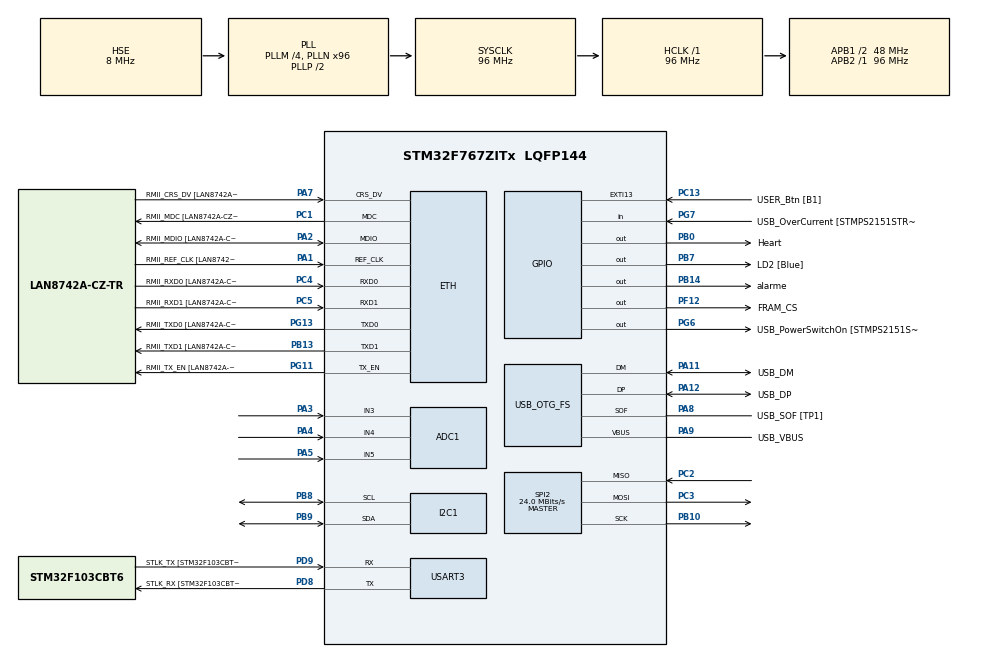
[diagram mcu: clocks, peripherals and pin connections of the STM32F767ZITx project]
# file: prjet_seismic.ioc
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ADC1.Channel-0\#ChannelRegularConversion=ADC_CHANNEL_5
ADC1.Channel-1\#ChannelRegularConversion=ADC_CHANNEL_3
ADC1.Channel-2\#ChannelRegularConversion=ADC_CHANNEL_3
ADC1.ContinuousConvMode=DISABLE
ADC1.DMAContinuousRequests=ENABLE
ADC1.ExternalTrigConv=ADC_EXTERNALTRIGCONV_T2_TRGO
ADC1.NbrOfConversion=3
ADC1.NbrOfConversionFlag=1
ADC1.Rank-0\#ChannelRegularConversion=1
ADC1.Rank-1\#ChannelRegularConversion=2
ADC1.Rank-2\#ChannelRegularConversion=3
ADC1.SamplingTime-0\#ChannelRegularConversion=ADC_SAMPLETIME_3CYCLES
ADC1.SamplingTime-1\#ChannelRegularConversion=ADC_SAMPLETIME_3CYCLES
ADC1.SamplingTime-2\#ChannelRegularConversion=ADC_SAMPLETIME_3CYCLES
ADC1.master=1
Dma.ADC1.0.Direction=DMA_PERIPH_TO_MEMORY
Dma.ADC1.0.FIFOMode=DMA_FIFOMODE_DISABLE
Dma.ADC1.0.Instance=DMA2_Stream0
Dma.ADC1.0.MemDataAlignment=DMA_MDATAALIGN_HALFWORD
Dma.ADC1.0.MemInc=DMA_MINC_ENABLE
Dma.ADC1.0.Mode=DMA_CIRCULAR
Dma.ADC1.0.PeriphDataAlignment=DMA_PDATAALIGN_HALFWORD
Dma.ADC1.0.PeriphInc=DMA_PINC_DISABLE
Dma.ADC1.0.Priority=DMA_PRIORITY_LOW
Dma.Request0=ADC1
ETH.MACAddr=00\:80\:E1\:00\:00\:07
ETH.MediaInterface=HAL_ETH_RMII_MODE
ETH.RxMode=ETH_RXINTERRUPT_MODE
FREERTOS.INCLUDE_uxTaskGetStackHighWaterMark=1
FREERTOS.Tasks01=defaultTask,0,256,StartDefaultTask,Default,NULL,Dynamic,NULL,NULL
FREERTOS.configTOTAL_HEAP_SIZE=384000
FREERTOS.configUSE_NEWLIB_REENTRANT=1
FREERTOS.configUSE_TRACE_FACILITY=1
I2C1.Timing=0x20303E5D
LWIP.BSP.number=1
LWIP.GATEWAY_ADDRESS=192.168.001.001
LWIP.IP_ADDRESS=192.168.001.177
LWIP.IP_FORWARD_ALLOW_TX_ON_RX_NETIF=1
LWIP.IP_SOF_BROADCAST=1
LWIP.IP_SOF_BROADCAST_RECV=1
LWIP.LWIP_DHCP=0
LWIP.LWIP_DNS=1
LWIP.LWIP_SNTP=1
LWIP.LWIP_SO_RCVTIMEO=1
LWIP.MEMP_NUM_TCP_PCB_LISTEN=20
LWIP.MEM_SIZE=32768
LWIP.NETMASK_ADDRESS=255.255.255.000
LWIP.Version=v2.1.2_Cube
LWIP0.BSP.STBoard=false
LWIP0.BSP.api=BSP_COMPONENT_DRIVER
LWIP0.BSP.component=LAN8742
LWIP0.BSP.instance=LAN8742
LWIP0.BSP.name=Driver_PHY
LWIP0.BSP.semaphore=S_LAN8742
LWIP0.BSP.solution=LAN8742
Mcu.Family=STM32F7
Mcu.Name=STM32F767ZITx
Mcu.Package=LQFP144
NVIC.DMA2_Stream0_IRQn=true\:5\:0\:false\:false\:true\:true\:false\:true\:true
NVIC.ETH_IRQn=true\:5\:0\:false\:false\:true\:true\:false\:true\:true
NVIC.EXTI15_10_IRQn=true\:5\:0\:false\:false\:true\:true\:true\:true\:true
NVIC.PriorityGroup=NVIC_PRIORITYGROUP_4
NVIC.TIM1_UP_TIM10_IRQn=true\:15\:0\:false\:false\:true\:false\:false\:true\:true
NVIC.TIM2_IRQn=true\:5\:0\:false\:false\:true\:true\:true\:true\:true
NVIC.TimeBase=TIM1_UP_TIM10_IRQn
NVIC.TimeBaseIP=TIM1
PA1.GPIO_Label=RMII_REF_CLK [LAN8742A-CZ-TR_REFCLK0]
PA1.Mode=RMII
PA1.Signal=ETH_REF_CLK
PA10.GPIO_Label=USB_ID
PA10.Signal=USB_OTG_FS_ID
PA11.GPIO_Label=USB_DM
PA11.Mode=Device_Only
PA11.Signal=USB_OTG_FS_DM
PA12.GPIO_Label=USB_DP
PA12.Mode=Device_Only
PA12.Signal=USB_OTG_FS_DP
PA13.GPIO_Label=TMS
PA13.Signal=SYS_JTMS-SWDIO
PA14.GPIO_Label=TCK
PA14.Signal=SYS_JTCK-SWCLK
PA2.GPIO_Label=RMII_MDIO [LAN8742A-CZ-TR_MDIO]
PA2.Mode=RMII
PA2.Signal=ETH_MDIO
PA3.Signal=ADCx_IN3
PA4.Signal=ADCx_IN4
PA5.Signal=ADCx_IN5
PA7.GPIO_Label=RMII_CRS_DV [LAN8742A-CZ-TR_CRS_DV]
PA7.Mode=RMII
PA7.Signal=ETH_CRS_DV
PA8.GPIO_Label=USB_SOF [TP1]
PA8.Mode=Activate_SOF_FS
PA8.Signal=USB_OTG_FS_SOF
PA9.GPIO_Label=USB_VBUS
PA9.Mode=Activate_VBUS
PA9.Signal=USB_OTG_FS_VBUS
PB0.GPIO_Label=Heart
PB0.Signal=GPIO_Output
PB10.Mode=Full_Duplex_Master
PB10.Signal=SPI2_SCK
PB13.GPIO_Label=RMII_TXD1 [LAN8742A-CZ-TR_TXD1]
PB13.Mode=RMII
PB13.Signal=ETH_TXD1
PB14.GPIO_Label=alarme
PB14.Signal=GPIO_Output
PB3.GPIO_Label=SW0
PB3.Signal=SYS_JTDO-SWO
PB7.GPIO_Label=LD2 [Blue]
PB7.Signal=GPIO_Output
PB8.Mode=I2C
PB8.Signal=I2C1_SCL
PB9.Mode=I2C
PB9.Signal=I2C1_SDA
PC1.GPIO_Label=RMII_MDC [LAN8742A-CZ-TR_MDC]
PC1.Mode=RMII
PC1.Signal=ETH_MDC
PC13.GPIO_Label=USER_Btn [B1]
PC13.Signal=GPXTI13
PC14/OSC32_IN.Mode=LSE-External-Oscillator
PC14/OSC32_IN.Signal=RCC_OSC32_IN
PC15/OSC32_OUT.Mode=LSE-External-Oscillator
PC15/OSC32_OUT.Signal=RCC_OSC32_OUT
PC2.Mode=Full_Duplex_Master
PC2.Signal=SPI2_MISO
PC3.Mode=Full_Duplex_Master
PC3.Signal=SPI2_MOSI
PC4.GPIO_Label=RMII_RXD0 [LAN8742A-CZ-TR_RXD0]
PC4.Mode=RMII
PC4.Signal=ETH_RXD0
PC5.GPIO_Label=RMII_RXD1 [LAN8742A-CZ-TR_RXD1]
PC5.Mode=RMII
PC5.Signal=ETH_RXD1
PD8.GPIO_Label=STLK_RX [STM32F103CBT6_PA3]
PD8.Mode=Asynchronous
PD8.Signal=USART3_TX
PD9.GPIO_Label=STLK_TX [STM32F103CBT6_PA2]
PD9.Mode=Asynchronous
PD9.Signal=USART3_RX
PF12.GPIO_Label=FRAM_CS
PF12.PinState=GPIO_PIN_SET
PF12.Signal=GPIO_Output
PG11.GPIO_Label=RMII_TX_EN [LAN8742A-CZ-TR_TXEN]
PG11.Mode=RMII
PG11.Signal=ETH_TX_EN
PG13.GPIO_Label=RMII_TXD0 [LAN8742A-CZ-TR_TXD0]
PG13.Mode=RMII
PG13.Signal=ETH_TXD0
PG6.GPIO_Label=USB_PowerSwitchOn [STMPS2151STR_EN]
PG6.Signal=GPIO_Output
PG7.GPIO_Label=USB_OverCurrent [STMPS2151STR_FAULT]
PG7.Signal=GPIO_Input
PH0/OSC_IN.GPIO_Label=MCO [STM32F103CBT6_PA8]
PH0/OSC_IN.Mode=HSE-External-Oscillator
PH0/OSC_IN.Signal=RCC_OSC_IN
PH1/OSC_OUT.Mode=HSE-External-Oscillator
PH1/OSC_OUT.Signal=RCC_OSC_OUT
ProjectManager.HeapSize=0x200
ProjectManager.StackSize=0x400
ProjectManager.TargetToolchain=STM32CubeIDE
RCC.48MHZClocksFreq_Value=24000000
RCC.AHBFreq_Value=96000000
RCC.APB1CLKDivider=RCC_HCLK_DIV2
RCC.APB1Freq_Value=48000000
RCC.APB1TimFreq_Value=96000000
RCC.APB2Freq_Value=96000000
RCC.APB2TimFreq_Value=96000000
RCC.CortexFreq_Value=96000000
RCC.HCLKFreq_Value=96000000
RCC.HSE_VALUE=8000000
RCC.HSI_VALUE=16000000
RCC.PLLM=4
RCC.PLLMUL=RCC_PLL_MUL9
RCC.PLLN=96
RCC.PLLQ=4
RCC.PRESCALERUSB=RCC_USBCLKSOURCE_PLL_DIV1_5
RCC.SYSCLKFreq_VALUE=96000000
RCC.SYSCLKSource=RCC_SYSCLKSOURCE_PLLCLK
RCC.SYSCLKSourceVirtual=RCC_SYSCLKSOURCE_PLLCLK
RCC.USBFreq_Value=48000000
RCC.VCOOutputFreq_Value=192000000
SH.ADCx_IN3.0=ADC1_IN3,IN3
SH.ADCx_IN4.0=ADC1_IN4,IN4
SH.ADCx_IN5.0=ADC1_IN5,IN5
SPI2.BaudRatePrescaler=SPI_BAUDRATEPRESCALER_2
SPI2.CalculateBaudRate=24.0 MBits/s
SPI2.DataSize=SPI_DATASIZE_8BIT
SPI2.Direction=SPI_DIRECTION_2LINES
SPI2.Mode=SPI_MODE_MASTER
SPI2.VirtualType=VM_MASTER
TIM2.Period=9999
TIM2.Prescaler=95
TIM2.TIM_MasterOutputTrigger=TIM_TRGO_UPDATE
TIM2.TIM_MasterSlaveMode=TIM_MASTERSLAVEMODE_ENABLE
USART3.VirtualMode-Asynchronous=VM_ASYNC
USB_OTG_FS.VirtualMode=Device_Only
VP_FREERTOS_VS_CMSIS_V1.Mode=CMSIS_V1
VP_LWIP_VS_Enabled.Mode=Enabled
VP_SYS_VS_tim1.Mode=TIM1
VP_TIM2_VS_ClockSourceINT.Mode=Internal
board=NUCLEO-F767ZI

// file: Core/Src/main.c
/* USER CODE BEGIN Header */
/**
  ******************************************************************************
  * @file           : main.c
  * @brief
  ******************************************************************************
  */
/* USER CODE END Header */
#include "main.h"
#include "cmsis_os.h"
#include "lwip.h"

/* USER CODE BEGIN Includes */
#include <stdbool.h>
#include <stdarg.h>
#include <stdio.h>
#include <string.h>
#include <math.h>

/* LWIP includes */
#include "lwip/udp.h"
#include "lwip/dns.h"
#include "lwip/pbuf.h"
#include "lwip/ip_addr.h"
#include "lwip/netif.h"
#include "lwip/inet.h"
#include "lwip/sockets.h"
#include <time.h>
#include "lwip/apps/sntp.h"

extern struct netif gnetif;
/* USER CODE END Includes */

/* USER CODE BEGIN PTD */
typedef struct {
  uint32_t id;
  char     text[128];
} LogMessage_t;

typedef struct {
    float mag;             // Magnitude (pour le tri)
    float x;               // Valeur X
    float y;               // Valeur Y
    float z;               // Valeur Z
    char  iso_date[24];    // Date
    char  source_id[16];   // ID
} SeismicEvent_t;

/* USER CODE END PTD */

/* USER CODE BEGIN PD */
#define ACCEL_SAMPLES_PER_AXIS_WINDOW_MS 10 // Nombre d'échantillons X,Y,Z
#define WINDOW_MS_IN_S 10                  // 10 x 100ms = 1s
#define ACCEL_SAMPLES_1S (ACCEL_SAMPLES_PER_AXIS_WINDOW_MS * WINDOW_MS_IN_S) // 100 échantillons/axe pour 1s

#define V_REF 3.3f           // Tension de référence ADC (Vref)
#define ADC_MAX_VAL 4095.0f  // Valeur maximale 12 bits

#define NTP_SERVER_IP "162.159.200.1"
/* USER CODE END PD */

ADC_HandleTypeDef hadc1;
DMA_HandleTypeDef hdma_adc1;

I2C_HandleTypeDef hi2c1;

SPI_HandleTypeDef hspi2;

TIM_HandleTypeDef htim2;

UART_HandleTypeDef huart3;

PCD_HandleTypeDef hpcd_USB_OTG_FS;

osThreadId defaultTaskHandle;
/* USER CODE BEGIN PV */

#define RTC_ADDR 0xD0
char g_iso_timestamp[30] = "2026-01-02T00:00:00Z";
#define NTP_PORT 123
#define NTP_MSG_LEN 48
#define NTP_TIMESTAMP_DELTA 2208988800u

volatile uint8_t ntp_synced = 0;
struct udp_pcb *ntp_pcb = NULL;

/* --- Global System Flags --- */

/* Buffer circulaire 1s (100 échantillons/axe) */
float g_accel_x_buffer_1s[ACCEL_SAMPLES_1S];
float g_accel_y_buffer_1s[ACCEL_SAMPLES_1S];
float g_accel_z_buffer_1s[ACCEL_SAMPLES_1S];
volatile uint16_t g_buffer_index = 0;

/* Résultats Traitement (Moyenne Glissante et RMS sur 1s) */
volatile float g_accel_rms_1s = 0.0f;
volatile float g_accel_avg_1s = 0.0f;

/* Sémaphore de synchronisation Acquisition - Traitement */
osSemaphoreId h_AcqProcSemaphore;

/* --- Global System Flags --- */
volatile bool g_user_button_pressed = false;

/* --- Acquisition Variables (Accelerometre) --- */
volatile uint8_t g_adc_dma_complete = 0;       // Flag interruption DMA
uint16_t g_adc_dma_buffer[30];                 // Buffer Circulaire (3 channels * 10 samples)

/* Données traitées (Moyennes) */
float g_accel_x_samples[10], g_accel_y_samples[10], g_accel_z_samples[10];
float g_accel_mean_x = 0.0f;
float g_accel_mean_y = 0.0f;
float g_accel_mean_z = 0.0f;

/* --- RTOS Task Handles  --- */
/* 1. Tâches Principales */
osThreadId h_TaskMaster;        // Tâche Maître (Gère le bouton)
osThreadId h_TaskHeartbeat;     // Tâche Heartbeat (LED)
osThreadId h_TaskDebugUART;     // Tâche Debug (UART)
osMailQId  h_LogQueue;          // Queue pour les messages UART

/* 2. Tâches Acquisition & Métier */
osThreadId h_TaskAcquisition;   // Tâche Acquisition (ADC DMA)
osThreadId h_TaskProcessing;    // Tâche Traitement

/* 3. Tâches Stockage & Temps */
osThreadId h_TaskTimeSync;
osThreadId h_TaskStorage;

/* 4. Tâches Réseau */
osThreadId h_TaskNetBroadcast;  // Tâche Broadcast (UDP)
osThreadId h_TaskNetServer;     // Serveur
osThreadId h_TaskNetClient;     // Client

osSemaphoreId h_StorageSemaphore; // Le réveil pour la tâche stockage

#define FRAM_STORAGE_ADDR 0x000000
#define MAX_STORED_EVENTS 10

// 1. Liste des 10 plus gros séismes
volatile SeismicEvent_t g_top_10_events[MAX_STORED_EVENTS];
volatile int g_events_count = 0;

// 2. Flags pour la décision collective (Consensus)
volatile bool g_local_shake_detected = false;
volatile bool g_peer_shake_detected = false;
volatile uint32_t g_last_local_shake_time = 0;
volatile uint32_t g_last_peer_shake_time = 0;

// 3. Outils de Synchro FreeRTOS
osMutexId h_Top10Mutex;          // Protège la liste quand on écrit dedans

/* USER CODE END PV */

void SystemClock_Config(void);
static void MX_GPIO_Init(void);
static void MX_DMA_Init(void);
static void MX_ADC1_Init(void);
static void MX_TIM2_Init(void);
static void MX_I2C1_Init(void);
static void MX_SPI2_Init(void);
static void MX_USART3_UART_Init(void);
static void MX_USB_OTG_FS_PCD_Init(void);
void StartDefaultTask(void const * argument);

/* USER CODE BEGIN PFP */
/* --- Helper Functions --- */
extern void log_to_uart(const char *format, ...);

/* --- Task Entry Functions --- */
void Start_Task_Master(void const * argument);
void Start_Task_Heartbeat(void const * argument);
void Start_Task_DebugUART(void const * argument);

void Start_Task_Acquisition(void const * argument);
void Start_Task_Processing(void const * argument);

void Start_Task_TimeSync(void const * argument);
void Start_Task_Storage(void const * argument);

void Start_Task_Net_Broadcast(void const * argument);
void Start_Task_Net_Server(void const * argument);
void Start_Task_Net_Client(void const * argument);
void presence_broadcast(void);
/* USER CODE END PFP */

int main(void)
{

  /* MCU Configuration--------------------------------------------------------*/

  /* Reset of all peripherals, Initializes the Flash interface and the Systick. */
  HAL_Init();

  /* Configure the system clock */
  SystemClock_Config();

  /* Initialize all configured peripherals */
  MX_GPIO_Init();
  MX_DMA_Init();
  MX_ADC1_Init();
  MX_TIM2_Init();
  MX_I2C1_Init();
  MX_SPI2_Init();
  MX_USART3_UART_Init();
  MX_USB_OTG_FS_PCD_Init();
  /* USER CODE BEGIN 2 */

  // Démarrage Hardware
  HAL_TIM_Base_Start(&htim2); // Lance le Timer trigger (100Hz)
  HAL_ADC_Start_DMA(&hadc1, (uint32_t*)g_adc_dma_buffer, 30); // Lance l'ADC en DMA Circulaire

  HAL_UART_Transmit(&huart3, (uint8_t*)"SYSTEM START... [OK]\r\n", 22, HAL_MAX_DELAY);

  /* USER CODE END 2 */

  /* USER CODE BEGIN RTOS_MUTEX */

  osMutexDef(Top10Mut);
  h_Top10Mutex = osMutexCreate(osMutex(Top10Mut));

  /* USER CODE END RTOS_MUTEX */

  /* Create the thread(s) */
  /* definition and creation of defaultTask */
  osThreadDef(defaultTask, StartDefaultTask, osPriorityNormal, 0, 256);
  defaultTaskHandle = osThreadCreate(osThread(defaultTask), NULL);

  /* USER CODE BEGIN RTOS_THREADS */

  /* Creation des tâches */

  // 1. Queue de Log
  osMailQDef(logQ, 16, LogMessage_t);
  h_LogQueue = osMailCreate(osMailQ(logQ), NULL);

  // 2. Tâches Système
  osThreadDef(TaskMaster, Start_Task_Master, osPriorityHigh, 0, 128);
  h_TaskMaster = osThreadCreate(osThread(TaskMaster), NULL);

  osThreadDef(TaskHeart, Start_Task_Heartbeat, osPriorityNormal, 0, 128);
  h_TaskHeartbeat = osThreadCreate(osThread(TaskHeart), NULL);

  osThreadDef(TaskDebug, Start_Task_DebugUART, osPriorityBelowNormal, 0, 512);
  h_TaskDebugUART = osThreadCreate(osThread(TaskDebug), NULL);

  // 3. Tâches Acquisition
  osThreadDef(TaskAcq, Start_Task_Acquisition, osPriorityNormal, 0, 512);
  h_TaskAcquisition = osThreadCreate(osThread(TaskAcq), NULL);

  osThreadDef(TaskProc, Start_Task_Processing, osPriorityBelowNormal, 0, 1024);
  h_TaskProcessing = osThreadCreate(osThread(TaskProc), NULL);

  // 4. Tâches Stockage/Temps
  osThreadDef(TaskTime, Start_Task_TimeSync, osPriorityBelowNormal, 0, 2024);
  h_TaskTimeSync = osThreadCreate(osThread(TaskTime), NULL);

  osThreadDef(TaskStore, Start_Task_Storage, osPriorityBelowNormal, 0, 1024);
  h_TaskStorage = osThreadCreate(osThread(TaskStore), NULL);

  // 5. Tâches Réseau
  osThreadDef(TaskBcast, Start_Task_Net_Broadcast, osPriorityBelowNormal, 0, 2024);
  h_TaskNetBroadcast = osThreadCreate(osThread(TaskBcast), NULL);

  osThreadDef(TaskServ, Start_Task_Net_Server, osPriorityAboveNormal, 0, 2024);
  h_TaskNetServer = osThreadCreate(osThread(TaskServ), NULL);

  osThreadDef(TaskCli, Start_Task_Net_Client, osPriorityNormal, 0, 2024);
  h_TaskNetClient = osThreadCreate(osThread(TaskCli), NULL);

    // 6. Sémaphore Acquisition <-> Traitement (Synchronisation 100ms)
    osSemaphoreDef(AcqProcSem);
    h_AcqProcSemaphore = osSemaphoreCreate(osSemaphore(AcqProcSem), 1);

      osSemaphoreDef(StoreSem);
      h_StorageSemaphore = osSemaphoreCreate(osSemaphore(StoreSem), 1);

      // On prend le sémaphore tout de suite pour qu'il soit "vide" au départ (la tâche dormira)
      osSemaphoreWait(h_StorageSemaphore, 0);

  /* USER CODE END RTOS_THREADS */

  /* Start scheduler */
  osKernelStart();

  /* We should never get here as control is now taken by the scheduler */

  /* Infinite loop */
  while (1)
  {

  }
}

void SystemClock_Config(void)
{
  RCC_OscInitTypeDef RCC_OscInitStruct = {0};
  RCC_ClkInitTypeDef RCC_ClkInitStruct = {0};

  /** Configure LSE Drive Capability
  */
  HAL_PWR_EnableBkUpAccess();

  /** Configure the main internal regulator output voltage
  */
  __HAL_RCC_PWR_CLK_ENABLE();
  __HAL_PWR_VOLTAGESCALING_CONFIG(PWR_REGULATOR_VOLTAGE_SCALE3);

  /** Initializes the RCC Oscillators according to the specified parameters
  * in the RCC_OscInitTypeDef structure.
  */
  RCC_OscInitStruct.OscillatorType = RCC_OSCILLATORTYPE_HSE;
  RCC_OscInitStruct.HSEState = RCC_HSE_ON;
  RCC_OscInitStruct.PLL.PLLState = RCC_PLL_ON;
  RCC_OscInitStruct.PLL.PLLSource = RCC_PLLSOURCE_HSE;
  RCC_OscInitStruct.PLL.PLLM = 4;
  RCC_OscInitStruct.PLL.PLLN = 96;
  RCC_OscInitStruct.PLL.PLLP = RCC_PLLP_DIV2;
  RCC_OscInitStruct.PLL.PLLQ = 4;
  RCC_OscInitStruct.PLL.PLLR = 2;
  if (HAL_RCC_OscConfig(&RCC_OscInitStruct) != HAL_OK)
  {
    Error_Handler();
  }

  /** Activate the Over-Drive mode
  */
  if (HAL_PWREx_EnableOverDrive() != HAL_OK)
  {
    Error_Handler();
  }

  /** Initializes the CPU, AHB and APB buses clocks
  */
  RCC_ClkInitStruct.ClockType = RCC_CLOCKTYPE_HCLK|RCC_CLOCKTYPE_SYSCLK
                              |RCC_CLOCKTYPE_PCLK1|RCC_CLOCKTYPE_PCLK2;
  RCC_ClkInitStruct.SYSCLKSource = RCC_SYSCLKSOURCE_PLLCLK;
  RCC_ClkInitStruct.AHBCLKDivider = RCC_SYSCLK_DIV1;
  RCC_ClkInitStruct.APB1CLKDivider = RCC_HCLK_DIV2;
  RCC_ClkInitStruct.APB2CLKDivider = RCC_HCLK_DIV1;

  if (HAL_RCC_ClockConfig(&RCC_ClkInitStruct, FLASH_LATENCY_3) != HAL_OK)
  {
    Error_Handler();
  }
}

static void MX_ADC1_Init(void)
{

  ADC_ChannelConfTypeDef sConfig = {0};

  /** Configure the global features of the ADC (Clock, Resolution, Data Alignment and number of conversion)
  */
  hadc1.Instance = ADC1;
  hadc1.Init.ClockPrescaler = ADC_CLOCK_SYNC_PCLK_DIV4;
  hadc1.Init.Resolution = ADC_RESOLUTION_12B;
  hadc1.Init.ScanConvMode = ADC_SCAN_ENABLE;
  hadc1.Init.ContinuousConvMode = DISABLE;
  hadc1.Init.DiscontinuousConvMode = DISABLE;
  hadc1.Init.ExternalTrigConvEdge = ADC_EXTERNALTRIGCONVEDGE_RISING;
  hadc1.Init.ExternalTrigConv = ADC_EXTERNALTRIGCONV_T2_TRGO;
  hadc1.Init.DataAlign = ADC_DATAALIGN_RIGHT;
  hadc1.Init.NbrOfConversion = 3;
  hadc1.Init.DMAContinuousRequests = ENABLE;
  hadc1.Init.EOCSelection = ADC_EOC_SINGLE_CONV;
  if (HAL_ADC_Init(&hadc1) != HAL_OK)
  {
    Error_Handler();
  }

  /** Configure for the selected ADC regular channel its corresponding rank in the sequencer and its sample time.
  */
  sConfig.Channel = ADC_CHANNEL_5;
  sConfig.Rank = ADC_REGULAR_RANK_1;
  sConfig.SamplingTime = ADC_SAMPLETIME_3CYCLES;
  if (HAL_ADC_ConfigChannel(&hadc1, &sConfig) != HAL_OK)
  {
    Error_Handler();
  }

  /** Configure for the selected ADC regular channel its corresponding rank in the sequencer and its sample time.
  */
  sConfig.Channel = ADC_CHANNEL_3;
  sConfig.Rank = ADC_REGULAR_RANK_2;
  if (HAL_ADC_ConfigChannel(&hadc1, &sConfig) != HAL_OK)
  {
    Error_Handler();
  }

  /** Configure for the selected ADC regular channel its corresponding rank in the sequencer and its sample time.
  */
  sConfig.Rank = ADC_REGULAR_RANK_3;
  if (HAL_ADC_ConfigChannel(&hadc1, &sConfig) != HAL_OK)
  {
    Error_Handler();
  }

}

static void MX_I2C1_Init(void)
{

  hi2c1.Instance = I2C1;
  hi2c1.Init.Timing = 0x20303E5D;
  hi2c1.Init.OwnAddress1 = 0;
  hi2c1.Init.AddressingMode = I2C_ADDRESSINGMODE_7BIT;
  hi2c1.Init.DualAddressMode = I2C_DUALADDRESS_DISABLE;
  hi2c1.Init.OwnAddress2 = 0;
  hi2c1.Init.OwnAddress2Masks = I2C_OA2_NOMASK;
  hi2c1.Init.GeneralCallMode = I2C_GENERALCALL_DISABLE;
  hi2c1.Init.NoStretchMode = I2C_NOSTRETCH_DISABLE;
  if (HAL_I2C_Init(&hi2c1) != HAL_OK)
  {
    Error_Handler();
  }

  /** Configure Analogue filter
  */
  if (HAL_I2CEx_ConfigAnalogFilter(&hi2c1, I2C_ANALOGFILTER_ENABLE) != HAL_OK)
  {
    Error_Handler();
  }

  /** Configure Digital filter
  */
  if (HAL_I2CEx_ConfigDigitalFilter(&hi2c1, 0) != HAL_OK)
  {
    Error_Handler();
  }

}

static void MX_SPI2_Init(void)
{

  /* SPI2 parameter configuration*/
  hspi2.Instance = SPI2;
  hspi2.Init.Mode = SPI_MODE_MASTER;
  hspi2.Init.Direction = SPI_DIRECTION_2LINES;
  hspi2.Init.DataSize = SPI_DATASIZE_8BIT;
  hspi2.Init.CLKPolarity = SPI_POLARITY_LOW;
  hspi2.Init.CLKPhase = SPI_PHASE_1EDGE;
  hspi2.Init.NSS = SPI_NSS_SOFT;
  hspi2.Init.BaudRatePrescaler = SPI_BAUDRATEPRESCALER_2;
  hspi2.Init.FirstBit = SPI_FIRSTBIT_MSB;
  hspi2.Init.TIMode = SPI_TIMODE_DISABLE;
  hspi2.Init.CRCCalculation = SPI_CRCCALCULATION_DISABLE;
  hspi2.Init.CRCPolynomial = 7;
  hspi2.Init.CRCLength = SPI_CRC_LENGTH_DATASIZE;
  hspi2.Init.NSSPMode = SPI_NSS_PULSE_ENABLE;
  if (HAL_SPI_Init(&hspi2) != HAL_OK)
  {
    Error_Handler();
  }

}

static void MX_TIM2_Init(void)
{

  TIM_ClockConfigTypeDef sClockSourceConfig = {0};
  TIM_MasterConfigTypeDef sMasterConfig = {0};

  htim2.Instance = TIM2;
  htim2.Init.Prescaler = 95;
  htim2.Init.CounterMode = TIM_COUNTERMODE_UP;
  htim2.Init.Period = 9999;
  htim2.Init.ClockDivision = TIM_CLOCKDIVISION_DIV1;
  htim2.Init.AutoReloadPreload = TIM_AUTORELOAD_PRELOAD_DISABLE;
  if (HAL_TIM_Base_Init(&htim2) != HAL_OK)
  {
    Error_Handler();
  }
  sClockSourceConfig.ClockSource = TIM_CLOCKSOURCE_INTERNAL;
  if (HAL_TIM_ConfigClockSource(&htim2, &sClockSourceConfig) != HAL_OK)
  {
    Error_Handler();
  }
  sMasterConfig.MasterOutputTrigger = TIM_TRGO_UPDATE;
  sMasterConfig.MasterSlaveMode = TIM_MASTERSLAVEMODE_ENABLE;
  if (HAL_TIMEx_MasterConfigSynchronization(&htim2, &sMasterConfig) != HAL_OK)
  {
    Error_Handler();
  }

}

static void MX_USART3_UART_Init(void)
{

  huart3.Instance = USART3;
  huart3.Init.BaudRate = 115200;
  huart3.Init.WordLength = UART_WORDLENGTH_8B;
  huart3.Init.StopBits = UART_STOPBITS_1;
  huart3.Init.Parity = UART_PARITY_NONE;
  huart3.Init.Mode = UART_MODE_TX_RX;
  huart3.Init.HwFlowCtl = UART_HWCONTROL_NONE;
  huart3.Init.OverSampling = UART_OVERSAMPLING_16;
  huart3.Init.OneBitSampling = UART_ONE_BIT_SAMPLE_DISABLE;
  huart3.AdvancedInit.AdvFeatureInit = UART_ADVFEATURE_NO_INIT;
  if (HAL_UART_Init(&huart3) != HAL_OK)
  {
    Error_Handler();
  }

}

static void MX_USB_OTG_FS_PCD_Init(void)
{

  hpcd_USB_OTG_FS.Instance = USB_OTG_FS;
  hpcd_USB_OTG_FS.Init.dev_endpoints = 6;
  hpcd_USB_OTG_FS.Init.speed = PCD_SPEED_FULL;
  hpcd_USB_OTG_FS.Init.dma_enable = DISABLE;
  hpcd_USB_OTG_FS.Init.phy_itface = PCD_PHY_EMBEDDED;
  hpcd_USB_OTG_FS.Init.Sof_enable = ENABLE;
  hpcd_USB_OTG_FS.Init.low_power_enable = DISABLE;
  hpcd_USB_OTG_FS.Init.lpm_enable = DISABLE;
  hpcd_USB_OTG_FS.Init.vbus_sensing_enable = ENABLE;
  hpcd_USB_OTG_FS.Init.use_dedicated_ep1 = DISABLE;
  if (HAL_PCD_Init(&hpcd_USB_OTG_FS) != HAL_OK)
  {
    Error_Handler();
  }

}

static void MX_DMA_Init(void)
{

  /* DMA controller clock enable */
  __HAL_RCC_DMA2_CLK_ENABLE();

  /* DMA interrupt init */
  /* DMA2_Stream0_IRQn interrupt configuration */
  HAL_NVIC_SetPriority(DMA2_Stream0_IRQn, 5, 0);
  HAL_NVIC_EnableIRQ(DMA2_Stream0_IRQn);

}

static void MX_GPIO_Init(void)
{
  GPIO_InitTypeDef GPIO_InitStruct = {0};

  /* GPIO Ports Clock Enable */
  __HAL_RCC_GPIOC_CLK_ENABLE();
  __HAL_RCC_GPIOH_CLK_ENABLE();
  __HAL_RCC_GPIOA_CLK_ENABLE();
  __HAL_RCC_GPIOB_CLK_ENABLE();
  __HAL_RCC_GPIOF_CLK_ENABLE();
  __HAL_RCC_GPIOD_CLK_ENABLE();
  __HAL_RCC_GPIOG_CLK_ENABLE();

  /*Configure GPIO pin Output Level */
  HAL_GPIO_WritePin(GPIOB, Heart_Pin|alarme_Pin|LD2_Pin, GPIO_PIN_RESET);

  /*Configure GPIO pin Output Level */
  HAL_GPIO_WritePin(FRAM_CS_GPIO_Port, FRAM_CS_Pin, GPIO_PIN_SET);

  /*Configure GPIO pin Output Level */
  HAL_GPIO_WritePin(USB_PowerSwitchOn_GPIO_Port, USB_PowerSwitchOn_Pin, GPIO_PIN_RESET);

  /*Configure GPIO pin : USER_Btn_Pin */
  GPIO_InitStruct.Pin = USER_Btn_Pin;
  GPIO_InitStruct.Mode = GPIO_MODE_IT_RISING;
  GPIO_InitStruct.Pull = GPIO_NOPULL;
  HAL_GPIO_Init(USER_Btn_GPIO_Port, &GPIO_InitStruct);

  /*Configure GPIO pins : Heart_Pin alarme_Pin LD2_Pin */
  GPIO_InitStruct.Pin = Heart_Pin|alarme_Pin|LD2_Pin;
  GPIO_InitStruct.Mode = GPIO_MODE_OUTPUT_PP;
  GPIO_InitStruct.Pull = GPIO_NOPULL;
  GPIO_InitStruct.Speed = GPIO_SPEED_FREQ_LOW;
  HAL_GPIO_Init(GPIOB, &GPIO_InitStruct);

  /*Configure GPIO pin : FRAM_CS_Pin */
  GPIO_InitStruct.Pin = FRAM_CS_Pin;
  GPIO_InitStruct.Mode = GPIO_MODE_OUTPUT_PP;
  GPIO_InitStruct.Pull = GPIO_NOPULL;
  GPIO_InitStruct.Speed = GPIO_SPEED_FREQ_LOW;
  HAL_GPIO_Init(FRAM_CS_GPIO_Port, &GPIO_InitStruct);

  /*Configure GPIO pin : USB_PowerSwitchOn_Pin */
  GPIO_InitStruct.Pin = USB_PowerSwitchOn_Pin;
  GPIO_InitStruct.Mode = GPIO_MODE_OUTPUT_PP;
  GPIO_InitStruct.Pull = GPIO_NOPULL;
  GPIO_InitStruct.Speed = GPIO_SPEED_FREQ_LOW;
  HAL_GPIO_Init(USB_PowerSwitchOn_GPIO_Port, &GPIO_InitStruct);

  /*Configure GPIO pin : USB_OverCurrent_Pin */
  GPIO_InitStruct.Pin = USB_OverCurrent_Pin;
  GPIO_InitStruct.Mode = GPIO_MODE_INPUT;
  GPIO_InitStruct.Pull = GPIO_NOPULL;
  HAL_GPIO_Init(USB_OverCurrent_GPIO_Port, &GPIO_InitStruct);

  /* EXTI interrupt init*/
  HAL_NVIC_SetPriority(EXTI15_10_IRQn, 5, 0);
  HAL_NVIC_EnableIRQ(EXTI15_10_IRQn);

}

/* USER CODE BEGIN 4 */

/* USER CODE BEGIN 4 */

/**
 * @brief Lit le contenu de la FRAM et l'affiche sur l'UART
 */
void CMD_Read_FRAM_Content(void)
{
    log_to_uart("=== ETAT MEMOIRE FRAM ===");
    if (g_events_count == 0) {
        log_to_uart(" > Vide.");
    }
    else {
        for (int i = 0; i < g_events_count; i++) {
            // Affichage détaillé : Date | Source | X | Y | Z
            log_to_uart(" #%d | %s | %-10s | X:%.2f Y:%.2f Z:%.2f", //(Mag:%.2f)",
                        i + 1,
                        g_top_10_events[i].iso_date,
                        g_top_10_events[i].source_id,
                        g_top_10_events[i].x,
                        g_top_10_events[i].y,
                        g_top_10_events[i].z,
                        g_top_10_events[i].mag);
        }
    }
    log_to_uart("=========================");
}

// --- OUTILS RTC BQ32000 ---

/* USER CODE BEGIN 4 */

// --- 1. CALLBACK DE RECEPTION NTP  ---
void ntp_recv_callback(void *arg, struct udp_pcb *pcb, struct pbuf *p, const ip_addr_t *addr, u16_t port)
{
    if (p != NULL && p->tot_len >= 48)
    {
        uint8_t *payload = (uint8_t *)p->payload;

        // Extraction du timestamp (octets 40 à 43)
        uint32_t ntp_seconds = (payload[40] << 24) | (payload[41] << 16) | (payload[42] << 8) | payload[43];

        // Conversion NTP (1900) vers UNIX (1970)
        uint32_t unix_time = ntp_seconds - NTP_TIMESTAMP_DELTA;

        // Conversion en structure de date complète (Année, Mois, Jour...)
        struct tm *time_info;
        time_t raw_time = (time_t)unix_time;
        time_info = gmtime(&raw_time);

        // Mise à jour de la RTC Physique BQ32000
        RTC_SetTime(time_info);

        ntp_synced = 1; // VICTOIRE !
        log_to_uart(" NTP SYNC OK! Date: %04d-%02d-%02d", time_info->tm_year + 1900, time_info->tm_mon+1, time_info->tm_mday);
    }

    pbuf_free(p);
    if (pcb != NULL) {
        udp_remove(pcb);
        ntp_pcb = NULL;
    }
}

// --- 2. FONCTION D'ENVOI NTP MANUEL ---
void Sync_Time_NTP_Manual(void)
{
    struct pbuf *p;
    ip_addr_t dest_ip;
    err_t err;

    // Nettoyage si un ancien essai traîne
    if (ntp_pcb != NULL) {
        udp_remove(ntp_pcb);
        ntp_pcb = NULL;
    }

    // Création Socket UDP
    ntp_pcb = udp_new();
    if (!ntp_pcb) return;

    // Configuration Callback
    udp_recv(ntp_pcb, ntp_recv_callback, NULL);

    ipaddr_aton("162.159.200.1", &dest_ip);

    // Préparation du paquet
    p = pbuf_alloc(PBUF_TRANSPORT, NTP_MSG_LEN, PBUF_RAM);
    if (!p) {
        udp_remove(ntp_pcb);
        return;
    }
    memset(p->payload, 0, NTP_MSG_LEN);
    ((uint8_t*)p->payload)[0] = 0x1B; // Mode Client

    // Envoi
    err = udp_sendto(ntp_pcb, p, &dest_ip, NTP_PORT);
    pbuf_free(p);

    if (err == ERR_OK) {
        log_to_uart("NTP: Request sent to 162.159.200.1...");
    } else {
        udp_remove(ntp_pcb);
        ntp_pcb = NULL;
    }
}

// Conversion BCD - Décimal [cite: 60, 62]
uint8_t BCD_to_Decimal(uint8_t bcd) {
    return ((bcd >> 4) * 10) + (bcd & 0x0F);
}

// Conversion Décimal - BCD (Nécessaire pour écrire l'heure NTP dans la RTC)
uint8_t Decimal_to_BCD(uint8_t decimal) {
    return (((decimal / 10) << 4) | (decimal % 10));
}

// --- OUTILS RTC BQ32000 ---

// Lecture Sécurisée
bool RTC_GetTime(struct tm *time_info) {
    uint8_t buffer[7];
    memset(time_info, 0, sizeof(struct tm)); // Reset RAM

    if (HAL_I2C_Mem_Read(&hi2c1, RTC_ADDR, 0x00, I2C_MEMADD_SIZE_8BIT, buffer, 7, 100) == HAL_OK) {

        // Si on lit 0xFF partout, le bus I2C est planté - on ignore
        if(buffer[0] == 0xFF && buffer[6] == 0xFF) return false;

        time_info->tm_sec  = BCD_to_Decimal(buffer[0] & 0x7F); // Important : Masque 0x7F
        time_info->tm_min  = BCD_to_Decimal(buffer[1]);
        time_info->tm_hour = BCD_to_Decimal(buffer[2]);
        // Reg 3 = Jour semaine
        time_info->tm_mday = BCD_to_Decimal(buffer[4]);
        time_info->tm_mon  = BCD_to_Decimal(buffer[5]) - 1;
        time_info->tm_year = BCD_to_Decimal(buffer[6]) + 100; // +100 car tm_year commence en 1900

        // Filtre date absurde (2165 = tm_year 265)
        if (time_info->tm_year > 150) return false;

        return true;
    }
    return false;
}

// Ecriture
void RTC_SetTime(struct tm *time_info) {
    uint8_t buffer[7];
    buffer[0] = Decimal_to_BCD(time_info->tm_sec);
    buffer[1] = Decimal_to_BCD(time_info->tm_min);
    buffer[2] = Decimal_to_BCD(time_info->tm_hour);
    buffer[3] = Decimal_to_BCD(time_info->tm_wday == 0 ? 7 : time_info->tm_wday);
    buffer[4] = Decimal_to_BCD(time_info->tm_mday);
    buffer[5] = Decimal_to_BCD(time_info->tm_mon + 1);
    buffer[6] = Decimal_to_BCD(time_info->tm_year % 100); // On écrit juste "25" pour 2025

    HAL_I2C_Mem_Write(&hi2c1, RTC_ADDR, 0x00, I2C_MEMADD_SIZE_8BIT, buffer, 7, 100);
}

/* =======================  gate keeper ======================= */
void log_to_uart(const char *format, ...)
{
    LogMessage_t *msg = osMailAlloc(h_LogQueue, 0);
    if (!msg) return;

    va_list ap;
    va_start(ap, format);
    vsnprintf(msg->text, sizeof(msg->text), format, ap);
    va_end(ap);

    osMailPut(h_LogQueue, msg);
}

/* ======================= TASK IMPLEMENTATIONS ======================= */

/* ======================= TASK NTP ======================= */

/* 6. Tâche Synchronisation Temps (NTP + RTC) */
void Start_Task_TimeSync(void const * argument)
{
    // 1. Attente Réseau
    while (!netif_is_up(&gnetif) || ip_addr_isany(&gnetif.ip_addr)) {
        osDelay(1000);
    }

    // Initialisation valeur par défaut propre
    snprintf(g_iso_timestamp, sizeof(g_iso_timestamp), "2000-01-01T00:00:00Z");

    log_to_uart("TIME: Network OK. Starting Manual NTP...");

    struct tm time_struct;
    int retry_count = 0;

    // 2. BOUCLE DE SYNCHRO NTP ( Bloquante au démarrage)
    // On insiste tant qu'on n'a pas reçu l'heure (ntp_synced passe à 1 dans le callback)
    while (ntp_synced == 0) {

        Sync_Time_NTP_Manual(); // Envoi la demande UDP brute

        // On attend la réponse pendant 5 secondes (50 x 100ms)
        for(int i=0; i<50; i++) {
            osDelay(100);
            if(ntp_synced) break; // Si le callback a mis le flag à 1, on sort
        }

        if(ntp_synced == 0) {
            retry_count++;
            log_to_uart("TIME: No response, retrying (%d)...", retry_count);
        }
    }

    log_to_uart("TIME: Sync Complete! Entering main loop.");

    // 3. Boucle principale : Mise à jour de la variable globale g_iso_timestamp
    for(;;)
    {
        // On lit la RTC physique (qui a été mise à l'heure par le NTP)
        if (RTC_GetTime(&time_struct)) {
            snprintf(g_iso_timestamp, sizeof(g_iso_timestamp),
                     "%04d-%02d-%02d T %02d:%02d:%02d",
                     time_struct.tm_year + 1900,
                     time_struct.tm_mon + 1,
                     time_struct.tm_mday,
                     time_struct.tm_hour + 1,
                     time_struct.tm_min,
                     time_struct.tm_sec);
        }

        osDelay(1000);
    }
}

/* ======================= TASK NTP ======================= */

/* ======================= TASK master ======================= */

/* 1. Tâche Maître (Gère le bouton et la surveillance périodique) */
void Start_Task_Master(void const * argument)
{
    // Petite pause au démarrage pour laisser le système s'initialiser
    osDelay(5000);

    for(;;) {
        // 1. On dort pendant 20 secondes (20000 ms)
        osDelay(20000);

        log_to_uart("--- AUTO-CHECK: LECTURE FRAM (20s) ---");

        // 2. On prend le Mutex (très important !)
        // Cela empêche de lire si la tâche Storage est en train d'écrire un séisme au même moment
        osMutexWait(h_Top10Mutex, osWaitForever);

        // 3. On recharge les données depuis la puce FRAM physique via SPI
        // Cela garantit qu'on affiche ce qui est réellement sur la puce, pas juste la copie RAM
        Load_Top10_From_FRAM();

        // 4. On affiche le tableau
        CMD_Read_FRAM_Content();

        // 5. On libère le Mutex pour laisser les autres travailler
        osMutexRelease(h_Top10Mutex);
    }
}

/* ======================= TASK master ======================= */

/* ======================= TASK heart beat ======================= */

/* 2. Tâche Heartbeat */
void Start_Task_Heartbeat(void const * argument)
{
    for(;;) {
    	HAL_GPIO_TogglePin(GPIOB, Heart_Pin);
    	osDelay(400);
    }
}

/* ======================= TASK heart beat ======================= */

/* ======================= TASK  uart gate keeper ======================= */

/* 3. Tâche Debug UART */
void Start_Task_DebugUART(void const * argument)
{
    for (;;)
    {
        osEvent evt = osMailGet(h_LogQueue, osWaitForever);
        if (evt.status == osEventMail)
        {
            LogMessage_t *m = evt.value.p;
            HAL_UART_Transmit(&huart3, (uint8_t*)m->text, strlen(m->text), 100);
            HAL_UART_Transmit(&huart3, (uint8_t*)"\r\n", 2, 100);
            osMailFree(h_LogQueue, m);
        }
    }
}

/* ======================= TASK  acque adxl ======================= */

/* 4. Tâche Acquisition (ADC) */
void Start_Task_Acquisition(void const * argument)
{
    for(;;) {
        // float sum_x = 0, sum_y = 0, sum_z = 0; // Anciens calculs de moyenne retirés

		if(g_adc_dma_complete){
            // Les 30 échantillons bruts (10x X,Y,Z) sont disponibles dans g_adc_dma_buffer

            // L'index de départ pour ce nouveau bloc de 10 échantillons dans le buffer 1s
            uint16_t start_idx = g_buffer_index;

			for(int i=0; i<30; i++){
				// Conversion 12 bits -> Volts (3.3V)
				float val = ((float)g_adc_dma_buffer[i] * V_REF) / ADC_MAX_VAL;

                // Calcul de l'index de stockage pour l'échantillon i dans le buffer 1s
                uint16_t sample_idx = start_idx + (i / 3);

                if(i % 3 == 0) { // X
					g_accel_x_buffer_1s[sample_idx] = val;
				}
				else if(i % 3 == 1) { // Y
					g_accel_y_buffer_1s[sample_idx] = val;
				}
				else if(i % 3 == 2) { // Z
					g_accel_z_buffer_1s[sample_idx] = val;
				}
			}

            // Mettre à jour l'index du prochain bloc de 10 échantillons (100ms)
            g_buffer_index += ACCEL_SAMPLES_PER_AXIS_WINDOW_MS;
            if (g_buffer_index >= ACCEL_SAMPLES_1S) {
                g_buffer_index = 0; // Retour au début du buffer circulaire
            }

			g_adc_dma_complete = 0; // Reset Flag DMA

            // Signalement à la tâche de traitement que 10 nouveaux échantillons sont là
            osSemaphoreRelease(h_AcqProcSemaphore);
		}
        osDelay(1); // La tâche ne doit pas monopoliser le CPU
    }
}
/* ======================= TASK  acque adxl ======================= */

/* ======================= TASK broadcast ======================= */

/* 5. Tâche Broadcast (UDP) */
void Start_Task_Net_Broadcast(void const * argument)
{
    /* 1. Attente du lien Ethernet */
    log_to_uart("NET: Waiting for Link...");
    while (!netif_is_up(&gnetif) || ip_addr_isany(&gnetif.ip_addr)) {
        osDelay(500);
    }

    // Affichage IP une seule fois
    char ip_txt[16];
    ipaddr_ntoa_r(&gnetif.ip_addr, ip_txt, 16);
    log_to_uart("NET: Ready! My IP is: %s", ip_txt);

    for(;;)
    {
        // Appel de la fonction séparée
        send_presence_broadcast();

        // Délai de 10s pour les tests
        osDelay(10000);
    }
}
/* ======================= TASK broadcast ======================= */

/* USER CODE BEGIN 4 */

/* ======================= fonction broadcast ======================= */

/* Fonction send_presence_broadcast    */
void send_presence_broadcast(void)
{
    struct udp_pcb *pcb;
    struct pbuf *p;
   // err_t err;
    char msg[256];
    char my_ip[16];

    // 1. Création du PCB
    pcb = udp_new();
    if (pcb == NULL) return;

    //   Autoriser le Broadcast sur ce PCB
    // Sans ça, LwIP refuse d'envoyer le paquet et Wireshark ne voit rien.
    ip_set_option(pcb, SOF_BROADCAST);

    udp_bind(pcb, IP_ADDR_ANY, 0);

    ipaddr_ntoa_r(&gnetif.ip_addr, my_ip, 16);
    snprintf(msg, sizeof(msg),
        "{\n"
        " \"type\": \"presence\",\n"
        " \"id\": \"nucleo-Ahmed\",\n"
        " \"ip\": \"%s\",\n"
        " \"timestamp\": \"%s\"\n"
        "}",
        my_ip, g_iso_timestamp);

    // 4. Envoi
    p = pbuf_alloc(PBUF_TRANSPORT, strlen(msg), PBUF_RAM);
    if (p != NULL) {
        pbuf_take(p, (char*)msg, strlen(msg));

        udp_sendto_if(pcb, p, IP_ADDR_BROADCAST, 12345, &gnetif);

        pbuf_free(p);
    }

    udp_remove(pcb);
}

/* ======================= fonction broadcast ======================= */

/* ======================= task precess adxl ======================= */

/* 7. Tâche Traitement (Seismic processing + Consensus) */
void Start_Task_Processing(void const * argument)
{
    const float SEISMIC_THRESHOLD_RMS = 0.050f;
    osDelay(1000);

    bool alarm_active_state = false;

    for(;;)
    {
        osSemaphoreWait(h_AcqProcSemaphore, osWaitForever);

        float sum_x = 0, sum_y = 0, sum_z = 0;
        float sum_sq_diff = 0;

        // --- CALCULS MATHS ---
        // 1. Moyenne
        for (int i = 0; i < ACCEL_SAMPLES_1S; i++) {
            sum_x += g_accel_x_buffer_1s[i];
            sum_y += g_accel_y_buffer_1s[i];
            sum_z += g_accel_z_buffer_1s[i];
        }
        g_accel_mean_x = sum_x / (float)ACCEL_SAMPLES_1S;
        g_accel_mean_y = sum_y / (float)ACCEL_SAMPLES_1S;
        g_accel_mean_z = sum_z / (float)ACCEL_SAMPLES_1S;

        // 2. RMS
        for (int i = 0; i < ACCEL_SAMPLES_1S; i++) {
            float dx = g_accel_x_buffer_1s[i] - g_accel_mean_x;
            float dy = g_accel_y_buffer_1s[i] - g_accel_mean_y;
            float dz = g_accel_z_buffer_1s[i] - g_accel_mean_z;
            sum_sq_diff += (dx*dx) + (dy*dy) + (dz*dz);
        }
        g_accel_rms_1s = sqrtf(sum_sq_diff / (float)(3 * ACCEL_SAMPLES_1S));

        // --- LOGIQUE DETECTION ---

        // A. Détection Locale
        if (g_accel_rms_1s > SEISMIC_THRESHOLD_RMS) {
            g_local_shake_detected = true;
            g_last_local_shake_time = HAL_GetTick();

            // SAUVEGARDE FRAM (Top 10)
            update_top_10_events(g_accel_rms_1s, "local");

            log_to_uart("!!!  - 10 event loc ok !!!");

            HAL_GPIO_TogglePin(GPIOB, LD2_Pin);
        } else {
            // Reset après 2s
            if (HAL_GetTick() - g_last_local_shake_time > 2000) {
                g_local_shake_detected = false;
                 HAL_GPIO_WritePin(GPIOB, LD2_Pin, GPIO_PIN_RESET);
            }
        }

        // B. Consensus (ALARME GENERALE)
        bool condition_consensus = g_peer_shake_detected; //g_local_shake_detected && g_peer_shake_detected;

        if (g_peer_shake_detected && (HAL_GetTick() - g_last_peer_shake_time > 2000)) {
            g_peer_shake_detected = false; // Info trop vieille
            condition_consensus = false;
        }

        if (condition_consensus) {
            // --- CAS D'ALARME ---
            HAL_GPIO_WritePin(GPIOB, alarme_Pin, GPIO_PIN_SET); // LED ROUGE ON

            if (!alarm_active_state) {
                vTaskSuspend(h_TaskHeartbeat);
                alarm_active_state = true;
                log_to_uart("!!! ALARME GENERALE - SYSTEME FIGE !!!");
            }

        } else {
            // --- CAS NORMAL ---
            HAL_GPIO_WritePin(GPIOB, alarme_Pin, GPIO_PIN_RESET); // LED ROUGE OFF

            if (alarm_active_state) {
                // L'alarme est finie, on relance le BEAT
                vTaskResume(h_TaskHeartbeat);
                alarm_active_state = false;
                log_to_uart("Systeme Stabilise - Reprise");
            }
        }
    }
}

/* ======================= task precess adxl ======================= */

/* ======================= task reponse requete ======================= */

/* 8. Tâche Serveur TCP (Répond aux requêtes) */
void Start_Task_Net_Server(void const * argument)
{
    int server_sock, client_sock;
    struct sockaddr_in server_addr, client_addr;
    socklen_t client_addr_len;
    int bytes_read;
    char rx_buffer[512];
    char tx_buffer[512];

    while (!netif_is_up(&gnetif) || ip_addr_isany(&gnetif.ip_addr)) {
        osDelay(1000);
    }
    log_to_uart("SRV: Server Ready on Port 12345");

    server_sock = socket(AF_INET, SOCK_STREAM, 0);
    if (server_sock < 0) {
        log_to_uart("SRV: Error creating socket");
        vTaskDelete(NULL);
    }

    memset(&server_addr, 0, sizeof(server_addr));
    server_addr.sin_family = AF_INET; //ipv4
    server_addr.sin_port = htons(12345);
    server_addr.sin_addr.s_addr = INADDR_ANY; //ecoute tout sur mon ip

    if (bind(server_sock, (struct sockaddr *)&server_addr, sizeof(server_addr)) < 0) {
        log_to_uart("SRV: Error binding");
        close(server_sock);
        vTaskDelete(NULL);
    }

    if (listen(server_sock, 5) < 0) {
        log_to_uart("SRV: Error listening");
        close(server_sock);
        vTaskDelete(NULL);
    }

    for(;;)
    {
        client_addr_len = sizeof(client_addr); //id client
        // Accept est bloquant
        client_sock = accept(server_sock, (struct sockaddr *)&client_addr, &client_addr_len);

        if (client_sock >= 0) { //si client connecté

            memset(rx_buffer, 0, sizeof(rx_buffer)); // prepa buff rx
            // On laisse 100ms max pour recevoir la donnée (évite un blocage infini si le client n'envoie rien)
            struct timeval tv; // si je recoir rien  j'attend un peu puis abandonne
            tv.tv_sec = 0;
            tv.tv_usec = 100000; // 100 ms
            setsockopt(client_sock, SOL_SOCKET, SO_RCVTIMEO, (const char*)&tv, sizeof tv);

            bytes_read = recv(client_sock, rx_buffer, sizeof(rx_buffer) - 1, 0); //j'attend un msg et les stock rx buffer

            if (bytes_read > 0) { // si on a recu un msg
                // Si c'est une requête valide
                if (strstr(rx_buffer, "data_request") != NULL) // data reequest
                {
                    float my_x = g_accel_mean_x;
                    float my_y = g_accel_mean_y;
                    float my_z = g_accel_mean_z;

                    int len = snprintf(tx_buffer, sizeof(tx_buffer),
                        "{\n"
                        " \"type\": \"data_response\",\n"
                        " \"id\": \"nucleo-Ahmed\",\n"
                        " \"timestamp\": \"%s\",\n"
                        " \"acceleration\": {\n"
                        "   \"x\": %.2f,\n"
                        "   \"y\": %.2f,\n"
                        "   \"z\": %.2f\n"
                        " },\n"
                        " \"status\": \"%s\"\n"
                        "}",
						g_iso_timestamp,
                        my_x, my_y, my_z,
                        (g_accel_rms_1s > 0.05f) ? "alert" : "normal"
                    );

                    send(client_sock, tx_buffer, len, 0);
                }
            }

            osDelay(20);

            close(client_sock);
        }

        osDelay(10);
    }
}
/* ======================= task reponse requete ======================= */

/* ======================= task demande requete ======================= */

typedef struct {
    char* name;
    char* id;
    char* ip;
} Peer_t;

/* 9. Tâche Client TCP */
void Start_Task_Net_Client(void const * argument)
{
    /* --- CONFIGURATION --- */
    #define MAX_DYNAMIC_PEERS 5

    typedef struct {
        char id[32];
        char ip[16];
    } DynamicPeer_t;

    /* --- VARIABLES STATIQUES (CRITIQUE : Ne pas mettre dans la Stack !) --- */
    // On force l'alignement 4 bytes pour le DMA Ethernet du STM32F7
    static DynamicPeer_t peers[MAX_DYNAMIC_PEERS];
    static char buffer_echange[512] __attribute__((aligned(4)));

    int num_peers = 0;
    int tcp_sock = -1;
    int udp_sock = -1;
    struct sockaddr_in udp_local_addr;

    /* --- ETAPE 1 : Attente Lien Physique --- */
    log_to_uart("CLI: Waiting for Link...");
    while (!netif_is_up(&gnetif)) {
        osDelay(500);
    }

    // Pause de sécurité pour laisser LwIP finir son init interne
    osDelay(2000);
    log_to_uart("CLI: Network UP. Starting Sockets...");

    /* --- ETAPE 2 : Socket UDP (Découverte) --- */
    udp_sock = socket(AF_INET, SOCK_DGRAM, 0);
    if (udp_sock < 0) {
        log_to_uart("CLI: FATAL - Cannot create UDP socket");
        vTaskDelete(NULL);
    }

    int opt = 1;
    setsockopt(udp_sock, SOL_SOCKET, SO_REUSEADDR, &opt, sizeof(opt));
    setsockopt(udp_sock, SOL_SOCKET, SO_BROADCAST, &opt, sizeof(opt));

    // TIMEOUT DE RECEPTION (Obligatoire pour ne pas figer)
    struct timeval tv;
    tv.tv_sec = 0;
    tv.tv_usec = 100000; // 100ms
    setsockopt(udp_sock, SOL_SOCKET, SO_RCVTIMEO, (const char*)&tv, sizeof(tv));

    memset(&udp_local_addr, 0, sizeof(udp_local_addr));
    udp_local_addr.sin_family = AF_INET;
    udp_local_addr.sin_port   = htons(12345);
    udp_local_addr.sin_addr.s_addr = INADDR_ANY;

    if (bind(udp_sock, (struct sockaddr *)&udp_local_addr, sizeof(udp_local_addr)) < 0) {
        log_to_uart("CLI: Error binding UDP");
        close(udp_sock);
        vTaskDelete(NULL);
    }

    log_to_uart("CLI: Discovery Active. Scanning...");

    /* --- BOUCLE INFINIE --- */
    for(;;)
    {
        /* --- A. ECOUTE UDP (Non bloquante grâce au timeout) --- */
        // On lit max 3 paquets par boucle pour ne pas bloquer le CPU
        for(int k=0; k<3; k++) {
            struct sockaddr_in src_addr;
            socklen_t addr_len = sizeof(src_addr);

            int len = recvfrom(udp_sock, buffer_echange, sizeof(buffer_echange)-1, 0,
                               (struct sockaddr *)&src_addr, &addr_len);

            if(len > 0) {
                buffer_echange[len] = 0; // Terminateur de chaîne

                // Si c'est un message de présence
                if(strstr(buffer_echange, "presence")) {
                    char temp_id[32] = {0};
                    char temp_ip[16] = {0};

                    // Extraction manuelle (plus sûre que sscanf sur F7)
                    char *ptr = strstr(buffer_echange, "\"id\": \"");
                    if(ptr) sscanf(ptr + 7, "%31[^\"]", temp_id);

                    ptr = strstr(buffer_echange, "\"ip\": \"");
                    if(ptr) sscanf(ptr + 7, "%15[^\"]", temp_ip);

                    // 1. On ignore notre propre IP (192.168.1.177)
                    if(strstr(temp_ip, "192.168.1.177")) continue;

                    // 2. On vérifie si on le connait déjà
                    bool connu = false;
                    for(int i=0; i<num_peers; i++) {
                        if(strcmp(peers[i].ip, temp_ip) == 0) {
                            connu = true;
                            break;
                        }
                    }

                    // 3. Ajout à la liste
                    if(!connu && num_peers < MAX_DYNAMIC_PEERS) {
                        strncpy(peers[num_peers].id, temp_id, 31);
                        strncpy(peers[num_peers].ip, temp_ip, 15);
                        num_peers++;
                        log_to_uart("CLI: NEW FRIEND -> %s (%s)", temp_id, temp_ip);
                    }
                }
            } else {
                break; // Timeout atteint ou erreur, on sort de la boucle de lecture
            }
        }

        osDelay(50); // Petite pause pour l'OS

        /* --- B. INTERROGATION TCP (Si on a des amis) --- */
        if (num_peers > 0) {
            for (int i = 0; i < num_peers; i++) {

                tcp_sock = socket(AF_INET, SOCK_STREAM, 0);
                if (tcp_sock < 0) continue; // Manque de RAM LwIP, on saute ce tour

                // Timeout connexion TCP (1s max) - TRES IMPORTANT
                struct timeval tcp_tv;
                tcp_tv.tv_sec = 1;
                tcp_tv.tv_usec = 0;
                setsockopt(tcp_sock, SOL_SOCKET, SO_RCVTIMEO, (const char*)&tcp_tv, sizeof(tcp_tv));
                setsockopt(tcp_sock, SOL_SOCKET, SO_SNDTIMEO, (const char*)&tcp_tv, sizeof(tcp_tv));

                struct sockaddr_in dest_addr;
                dest_addr.sin_family = AF_INET;
                dest_addr.sin_port = htons(12345);
                dest_addr.sin_addr.s_addr = inet_addr(peers[i].ip);

                // Connexion
                if (connect(tcp_sock, (struct sockaddr *)&dest_addr, sizeof(dest_addr)) == 0) {

                    // Envoi Requête JSON
                    snprintf(buffer_echange, sizeof(buffer_echange),
                        "{\"type\":\"data_request\",\"from\":\"nucleo-Ahmed\",\"to\":\"%s\"}", peers[i].id);
                    send(tcp_sock, buffer_echange, strlen(buffer_echange), 0);

                    // Réception Réponse
                    int n = recv(tcp_sock, buffer_echange, sizeof(buffer_echange)-1, 0);
                    if (n > 0) {
                        buffer_echange[n] = 0;

                        // 1. Check ALERTE
                        if (strstr(buffer_echange, "alert") || strstr(buffer_echange, "status\": \"alert")) {
                            g_peer_shake_detected = true;
                            g_last_peer_shake_time = HAL_GetTick();
                            log_to_uart("!!! ALERTE DU VOISIN %s !!!", peers[i].id);
                        }

                        // 2. Check Magnitude (pour Top 10)
                        char *pX = strstr(buffer_echange, "\"x\":");
                        if(pX) {
                            float val = strtof(pX + 4, NULL);
                            if(fabsf(val) > 0.1f) {
                                // Appel à votre fonction de mise à jour du Top 10
                                update_top_10_events(fabsf(val), val, 0, 0, peers[i].id);
                            }
                        }
                    }
                }

                // FERMETURE OBLIGATOIRE
                close(tcp_sock);

                // Pause pour laisser LwIP nettoyer le socket
                osDelay(50);
            }
        }

        // Pause entre deux cycles complets de scan
        osDelay(2000);
    }
}

/* ======================= task demande requete ======================= */

/* ======================= task Fram ======================= */

/* 8. Tâche Stockage (Gère la FRAM ) */

// --- A. DRIVER FRAM (Mode Burst) ---
// --- DRIVER FRAM CY15B104Q ---
#define FRAM_WREN  0x06
#define FRAM_WRITE 0x02
#define FRAM_READ  0x03
#define FRAM_MAGIC_ADDR 0x001000
#define MAGIC_NUMBER    0x0B00B1E5

void FRAM_CS_Select(void) {
    HAL_GPIO_WritePin(FRAM_CS_GPIO_Port, FRAM_CS_Pin, GPIO_PIN_RESET);
}
void FRAM_CS_Deselect(void) {
    HAL_GPIO_WritePin(FRAM_CS_GPIO_Port, FRAM_CS_Pin, GPIO_PIN_SET);
}

// Ecriture rapide d'un bloc complet
void FRAM_WriteBurst(SPI_HandleTypeDef *hspi, uint32_t address, uint8_t *pData, uint16_t size) {
    uint8_t cmd[4];
    // 1. WREN
    FRAM_CS_Select();
    cmd[0] = FRAM_WREN;
    HAL_SPI_Transmit(hspi, &cmd[0], 1, 100);
    FRAM_CS_Deselect();
    for(volatile int i=0; i<50; i++); // Petit délai

    // 2. WRITE + Address + Data
    FRAM_CS_Select();
    cmd[0] = FRAM_WRITE;
    cmd[1] = (address >> 16) & 0xFF;
    cmd[2] = (address >> 8)  & 0xFF;
    cmd[3] = (address)       & 0xFF;
    HAL_SPI_Transmit(hspi, cmd, 4, 100);       // En-tête
    HAL_SPI_Transmit(hspi, pData, size, 1000); // Données
    FRAM_CS_Deselect();
}

// Lecture rapide d'un bloc complet
void FRAM_ReadBurst(SPI_HandleTypeDef *hspi, uint32_t address, uint8_t *pData, uint16_t size) {
    uint8_t cmd[4];
    FRAM_CS_Select();
    cmd[0] = FRAM_READ;
    cmd[1] = (address >> 16) & 0xFF;
    cmd[2] = (address >> 8)  & 0xFF;
    cmd[3] = (address)       & 0xFF;
    HAL_SPI_Transmit(hspi, cmd, 4, 100);
    HAL_SPI_Receive(hspi, pData, size, 1000);
    FRAM_CS_Deselect();
}

// --- B. FONCTIONS HAUT NIVEAU ---
void Save_Top10_To_FRAM(void) {
    // Sauvegarde la tableau ET le compteur
    FRAM_WriteBurst(&hspi2, FRAM_STORAGE_ADDR, (uint8_t*)g_top_10_events, sizeof(g_top_10_events));
    FRAM_WriteBurst(&hspi2, FRAM_STORAGE_ADDR + sizeof(g_top_10_events), (uint8_t*)&g_events_count, sizeof(g_events_count));
}

void Load_Top10_From_FRAM(void) {
    FRAM_ReadBurst(&hspi2, FRAM_STORAGE_ADDR, (uint8_t*)g_top_10_events, sizeof(g_top_10_events));
    FRAM_ReadBurst(&hspi2, FRAM_STORAGE_ADDR + sizeof(g_top_10_events), (uint8_t*)&g_events_count, sizeof(g_events_count));
    // Reset si corrompu
    if(g_events_count < 0 || g_events_count > MAX_STORED_EVENTS) g_events_count = 0;
}

// --- C. LOGIQUE TOP 10 ---
// C'est cette fonction qui décide si on garde l'événement et qui réveille la tâche stockage
void update_top_10_events(float magnitude, float x, float y, float z, const char* source_id) {

    // Filtre de sécurité basique
    if (magnitude < 0.05f) return;

    // On ignore les NAN/INF
    if (isnan(magnitude) || isinf(magnitude)) return;

    bool changed = false;

    osMutexWait(h_Top10Mutex, osWaitForever);

    volatile SeismicEvent_t* target_event = NULL;

    // 1. Remplissage ou Remplacement (Même logique qu'avant)
    if (g_events_count < MAX_STORED_EVENTS) {
        target_event = &g_top_10_events[g_events_count];
        g_events_count++;
        changed = true;
    }
    else {
        int min_idx = 0;
        float min_val = g_top_10_events[0].mag;
        for(int i=1; i<MAX_STORED_EVENTS; i++){
            if(g_top_10_events[i].mag < min_val){
                min_val = g_top_10_events[i].mag;
                min_idx = i;
            }
        }
        if(magnitude > min_val){
            target_event = &g_top_10_events[min_idx];
            changed = true;
        }
    }

    // 2. SAUVEGARDE DES VALEURS PRECISES
    if (target_event != NULL) {
        target_event->mag = magnitude;
        target_event->x = x; // On sauvegarde X
        target_event->y = y; // On sauvegarde Y
        target_event->z = z; // On sauvegarde Z
        strncpy((char*)target_event->iso_date, g_iso_timestamp, 23);
        strncpy((char*)target_event->source_id, source_id, 15);
    }

    if (changed) {
        osSemaphoreRelease(h_StorageSemaphore);
    }
    osMutexRelease(h_Top10Mutex);
}

/* 8. Tâche Stockage (Gatekeeper pour la FRAM) */
// Fonction générique Ecriture
/* USER CODE BEGIN 4 */

// Fonction d'écriture blindée pour CY15B104Q
void FRAM_Write(uint32_t address, uint8_t *pData, uint16_t size) {
    uint8_t cmd[4];

    // 1. WREN (Write Enable)
    // C'est l'étape la plus critique : il faut dire à la puce "Prépare-toi à écrire"
    FRAM_CS_Select();
    cmd[0] = FRAM_WREN;
    HAL_SPI_Transmit(&hspi2, &cmd[0], 1, 100);
    FRAM_CS_Deselect();

    // Petit délai indispensable pour que le verrou WREN s'enclenche
    for(volatile int k=0; k<500; k++);

    // 2. WRITE + ADDRESS
    FRAM_CS_Select();
    cmd[0] = FRAM_WRITE;
    cmd[1] = (address >> 16) & 0xFF; // MSB
    cmd[2] = (address >> 8)  & 0xFF;
    cmd[3] = (address)       & 0xFF; // LSB

    // On envoie la commande d'abord
    HAL_SPI_Transmit(&hspi2, cmd, 4, 100);

    // 3. DATA
    // On envoie les données
    HAL_SPI_Transmit(&hspi2, pData, size, 2000); // Timeout augmenté à 2s

    FRAM_CS_Deselect();

    // Petit délai après écriture pour stabilisation
    for(volatile int k=0; k<500; k++);
}

// Fonction générique Lecture
void FRAM_Read(uint32_t address, uint8_t *pData, uint16_t size) {
    uint8_t cmd[4];
    FRAM_CS_Select();
    cmd[0] = FRAM_READ;
    cmd[1] = (address >> 16) & 0xFF;
    cmd[2] = (address >> 8)  & 0xFF;
    cmd[3] = (address)       & 0xFF;

    HAL_SPI_Transmit(&hspi2, cmd, 4, 100);
    HAL_SPI_Receive(&hspi2, pData, size, 1000);
    FRAM_CS_Deselect();
}

// Fonction de Formatage (Remise à zéro)
void FRAM_Format_Reset(void) {
    log_to_uart("STORAGE: Formatting FRAM (First Boot or Corruption)...");

    // 1. On remet le compteur à 0
    g_events_count = 0;

    // 2. On nettoie le tableau RAM
    memset((void*)g_top_10_events, 0, sizeof(g_top_10_events));

    // 3. On ecrit des 0 partout dans la zone Data de la FRAM
    FRAM_Write(FRAM_STORAGE_ADDR, (uint8_t*)g_top_10_events, sizeof(g_top_10_events));

    // 4. On écrit le compteur 0
    FRAM_Write(FRAM_STORAGE_ADDR + sizeof(g_top_10_events), (uint8_t*)&g_events_count, 4);

    // 5. On écrit le MAGIC NUMBER pour dire "C'est initialisé"
    uint32_t magic = MAGIC_NUMBER;
    FRAM_Write(FRAM_MAGIC_ADDR, (uint8_t*)&magic, 4);

    log_to_uart("STORAGE: Format Complete.");
}

// --- TACHE STOCKAGE ---
void Start_Task_Storage(void const * argument)
{
    osDelay(100);

    // --- INITIALISATION (Lecture au démarrage) ---
    osMutexWait(h_Top10Mutex, osWaitForever);
    uint32_t magic_check = 0;
    FRAM_Read(FRAM_MAGIC_ADDR, (uint8_t*)&magic_check, 4);

    if (magic_check != MAGIC_NUMBER) {
        FRAM_Format_Reset();
    } else {
        FRAM_Read(FRAM_STORAGE_ADDR, (uint8_t*)g_top_10_events, sizeof(g_top_10_events));
        FRAM_Read(FRAM_STORAGE_ADDR + sizeof(g_top_10_events), (uint8_t*)&g_events_count, 4);
        if(g_events_count > MAX_STORED_EVENTS) g_events_count = 0;
    }

    // On affiche le tableau COMPLET seulement au démarrage
    CMD_Read_FRAM_Content();
    osMutexRelease(h_Top10Mutex);

    // --- BOUCLE INFINIE ---
    for(;;)
    {
        // On attend l'ordre de sauvegarde
        osSemaphoreWait(h_StorageSemaphore, osWaitForever);

        osMutexWait(h_Top10Mutex, osWaitForever);

        // Ecriture physique
        FRAM_Write(FRAM_STORAGE_ADDR, (uint8_t*)g_top_10_events, sizeof(g_top_10_events));
        FRAM_Write(FRAM_STORAGE_ADDR + sizeof(g_top_10_events), (uint8_t*)&g_events_count, 4);

        // --- MODIFICATION ICI : On n'affiche qu'une seule ligne compacte ---
        // Cela évite de saturer le buffer UART
        if(g_events_count > 0) {
                    int last = g_events_count - 1;
                    log_to_uart("[SAVED] %s | X:%.2f Y:%.2f Z:%.2f",
                                g_top_10_events[last].source_id,
                                g_top_10_events[last].x,
                                g_top_10_events[last].y,
                                g_top_10_events[last].z);
                }
        // ------------------------------------------------------------------

        osMutexRelease(h_Top10Mutex);
    }
}

/* ======================= task Fram ======================= */

#include <sys/time.h>

static time_t g_time_offset = 0;

// Appelée par "time(NULL)"
int _gettimeofday(struct timeval *tv, void *tzvp)
{
    uint32_t t = HAL_GetTick();
    // On ajoute l'offset (qui sera 0 tant que NTP n'a pas répondu)
    tv->tv_sec = (t / 1000) + g_time_offset;
    tv->tv_usec = (t % 1000) * 1000;
    return 0;
}

// Appelée par SNTP (LwIP) quand il reçoit l'heure
int _settimeofday(const struct timeval *tv, const struct timezone *tz)
{
    uint32_t t = HAL_GetTick();
    // On calcule la différence entre l'heure reçue et le temps système actuel
    g_time_offset = tv->tv_sec - (t / 1000);
    return 0;
}

/* ======================= CALLBACKS ======================= */
void HAL_GPIO_EXTI_Callback(uint16_t GPIO_Pin){
	if(GPIO_Pin == USER_Btn_Pin) {
        g_user_button_pressed = !g_user_button_pressed;
    }
}

void HAL_ADC_ConvCpltCallback(ADC_HandleTypeDef* hadc){
	g_adc_dma_complete = 1;
}
/* USER CODE END 4 */

void StartDefaultTask(void const * argument)
{
  /* init code for LWIP */
  MX_LWIP_Init();
  for(;;)
  {
    osDelay(1);
  }
}

void HAL_TIM_PeriodElapsedCallback(TIM_HandleTypeDef *htim)
{
  if (htim->Instance == TIM1)
  {
    HAL_IncTick();
  }
}

void Error_Handler(void)
{
  __disable_irq();
  while (1)
  {
  }
}
